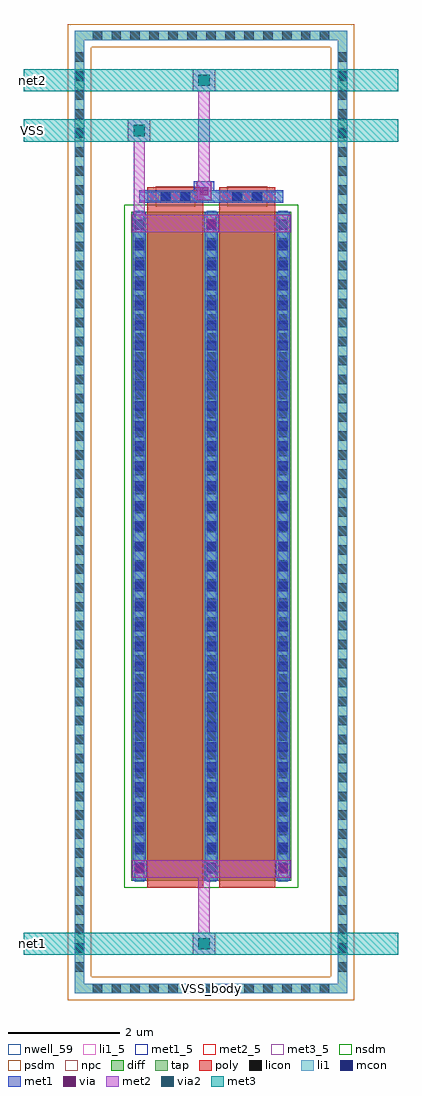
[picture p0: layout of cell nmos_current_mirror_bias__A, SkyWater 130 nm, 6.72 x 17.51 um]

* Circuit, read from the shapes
.subckt nmos_current_mirror_bias__A VSS VSS_body net1 net2
XM1 VSS net2 net1 VSS_body sky130_fd_pr__nfet_01v8 w=12 l=1 m=2
.ends

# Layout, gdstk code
import gdstk
lib = gdstk.Library(unit=1e-6, precision=1e-09)
def R(c, l, rs):  # rectangles x0, y0, x1, y1
    for r in rs: c.add(gdstk.rectangle(r[:2], r[2:], *l))
def A(c, l, x, y, w, h, nx, ny, dx, dy):  # array of equal rectangles
    R(c, l, [(x+i*dx, y+j*dy, x+i*dx+w, y+j*dy+h) for i in range(nx) for j in range(ny)])
nwell_59 = (64, 59)
diff = (65, 20)
tap = (65, 44)
poly = (66, 20)
licon = (66, 44)
li1_5 = (67, 5)
li1 = (67, 20)
mcon = (67, 44)
met1_5 = (68, 5)
met1 = (68, 20)
via = (68, 44)
met2_5 = (69, 5)
met2 = (69, 20)
via2 = (69, 44)
met3_5 = (70, 5)
met3 = (70, 20)
nsdm = (93, 44)
psdm = (94, 20)
npc = (95, 20)

sky130_fd_pr__nfet_01v8_ = lib.new_cell('sky130_fd_pr__nfet_01v8_9RJRPW')
R(sky130_fd_pr__nfet_01v8_, diff, [(-1.435,-6.155,1.435,5.845)])
R(sky130_fd_pr__nfet_01v8_, poly, [(-1.145,-6.285,-0.145,6.285), (0.145,-6.285,1.145,6.285)])
A(sky130_fd_pr__nfet_01v8_, licon, -1.375, -6.02, 0.17, 0.17, 3, 35, 1.29, 0.34)
R(sky130_fd_pr__nfet_01v8_, licon, [(-0.9,6.035,-0.73,6.205), (-0.56,6.035,-0.39,6.205), (0.39,6.035,0.56,6.205), (0.73,6.035,0.9,6.205)])
A(sky130_fd_pr__nfet_01v8_, li1, -1.375, -6.175, 0.17, 12.04, 3, 1, 1.29, 0)
R(sky130_fd_pr__nfet_01v8_, li1, [(-1.29,6.035,1.29,6.205)])
A(sky130_fd_pr__nfet_01v8_, mcon, -1.375, -6, 0.17, 0.17, 3, 33, 1.29, 0.36)
R(sky130_fd_pr__nfet_01v8_, mcon, [(-0.91,6.035,-0.74,6.205), (-0.55,6.035,-0.38,6.205), (0.38,6.035,0.55,6.205), (0.74,6.035,0.91,6.205)])
A(sky130_fd_pr__nfet_01v8_, met1, -1.405, -6.155, 0.23, 12, 3, 1, 1.29, 0)
R(sky130_fd_pr__nfet_01v8_, met1, [(-1.125,6.005,-0.165,6.035), (0.165,6.005,1.125,6.035), (-1.29,6.035,1.29,6.205), (-1.125,6.205,-0.165,6.235), (0.165,6.205,1.125,6.235)])
R(sky130_fd_pr__nfet_01v8_, nsdm, [(-1.56,-6.28,1.56,5.97)])
R(sky130_fd_pr__nfet_01v8_, npc, [(-1,5.935,-0.29,6.305), (0.29,5.935,1,6.305)])
sky130_fd_pr__nfet_01v8_.add(gdstk.Label('D0', (-1.29,-0.155), layer=67, texttype=5))
sky130_fd_pr__nfet_01v8_.add(gdstk.Label('G', (0.645,6.12), layer=67, texttype=5))
sky130_fd_pr__nfet_01v8_.add(gdstk.Label('G', (-0.645,6.12), layer=67, texttype=5))
sky130_fd_pr__nfet_01v8_.add(gdstk.Label('S1', (0,-0.155), layer=67, texttype=5))

nfet_01v8_w24_l1_m1__nf2 = lib.new_cell('nfet_01v8_W24_L1_m1__nf2_gtop_sdfull_outD_ng')
R(nfet_01v8_w24_l1_m1__nf2, nwell_59, [(0.05,6.08,0.15,6.18)])
R(nfet_01v8_w24_l1_m1__nf2, met1_5, [(0.145,12.29,2.725,12.52)])
R(nfet_01v8_w24_l1_m1__nf2, met1, [(0.015,0.18,0.275,0.5), (2.595,0.18,2.855,0.5), (1.305,11.76,1.565,12.08), (0.145,12.29,2.725,12.52)])
R(nfet_01v8_w24_l1_m1__nf2, via, [(0.07,0.265,0.22,0.415), (2.65,0.265,2.8,0.415), (1.36,11.845,1.51,11.995)])
R(nfet_01v8_w24_l1_m1__nf2, met2_5, [(0.01,0.18,2.86,0.5), (0.01,11.76,2.86,12.08)])
R(nfet_01v8_w24_l1_m1__nf2, met2, [(0.01,0.18,2.86,0.5), (0.01,11.76,2.86,12.08)])
nfet_01v8_w24_l1_m1__nf2.add(gdstk.Reference(sky130_fd_pr__nfet_01v8_, (1.435,6.285)))
nfet_01v8_w24_l1_m1__nf2.add(gdstk.Label('S', (1.435,11.92), layer=69, texttype=5))
nfet_01v8_w24_l1_m1__nf2.add(gdstk.Label('D', (1.435,0.34), layer=69, texttype=5))
nfet_01v8_w24_l1_m1__nf2.add(gdstk.Label('G', (1.435,12.405), layer=68, texttype=5))
nfet_01v8_w24_l1_m1__nf2.add(gdstk.Label('B', (0.1,6.13), layer=64, texttype=59))

nmos_current_mirror_bias = lib.new_cell('nmos_current_mirror_bias__A')
R(nmos_current_mirror_bias, tap, [(-0.885,-1.885,4.005,-1.715), (-0.885,-1.715,-0.715,15.205), (3.835,-1.715,4.005,15.205), (-0.885,15.205,4.005,15.375)])
A(nmos_current_mirror_bias, licon, -0.565, -1.885, 0.17, 0.17, 13, 2, 0.34, 17.09)
A(nmos_current_mirror_bias, licon, -0.885, -1.5, 0.17, 0.17, 1, 49, 0, 0.34)
A(nmos_current_mirror_bias, licon, 3.835, -1.5, 0.17, 0.17, 1, 49, 0, 0.34)
R(nmos_current_mirror_bias, li1_5, [(1.51,-1.85,1.61,-1.75)])
R(nmos_current_mirror_bias, li1, [(-0.885,-1.885,4.005,-1.715), (-0.885,-1.715,-0.715,15.205), (3.835,-1.715,4.005,15.205), (-0.885,15.205,4.005,15.375)])
R(nmos_current_mirror_bias, met1, [(1.255,12.32,1.615,12.68)])
R(nmos_current_mirror_bias, via, [(1.36,12.425,1.51,12.575)])
R(nmos_current_mirror_bias, met2, [(1.235,-1.2,1.635,-0.8), (1.335,-0.8,1.535,0.28), (0.17,11.98,0.37,13.39), (1.305,12.34,1.565,12.66), (1.335,12.66,1.535,14.29), (0.07,13.39,0.47,13.79), (1.235,14.29,1.635,14.69)])
R(nmos_current_mirror_bias, via2, [(1.335,-1.1,1.535,-0.9), (0.17,13.49,0.37,13.69), (1.335,14.39,1.535,14.59)])
R(nmos_current_mirror_bias, met3_5, [(-1.7,-1.05,-1.6,-0.95), (-1.7,13.54,-1.6,13.64), (-1.7,14.44,-1.6,14.54)])
R(nmos_current_mirror_bias, met3, [(-1.8,-1.2,4.92,-0.8), (-1.8,13.39,4.92,13.79), (-1.8,14.29,4.92,14.69)])
R(nmos_current_mirror_bias, psdm, [(-1.01,-2.01,4.13,-1.59), (-1.01,-1.59,-0.59,15.08), (3.71,-1.59,4.13,15.08), (-1.01,15.08,4.13,15.5)])
nmos_current_mirror_bias.add(gdstk.Reference(nfet_01v8_w24_l1_m1__nf2, (0.13,0)))
nmos_current_mirror_bias.add(gdstk.Label('VSS', (-1.65,13.59), layer=70, texttype=5))
nmos_current_mirror_bias.add(gdstk.Label('net2', (-1.65,14.49), layer=70, texttype=5))
nmos_current_mirror_bias.add(gdstk.Label('net1', (-1.65,-1), layer=70, texttype=5))
nmos_current_mirror_bias.add(gdstk.Label('VSS_body', (1.56,-1.8), layer=67, texttype=5))

lib.write_gds('nmos_current_mirror_bias__A.gds')
